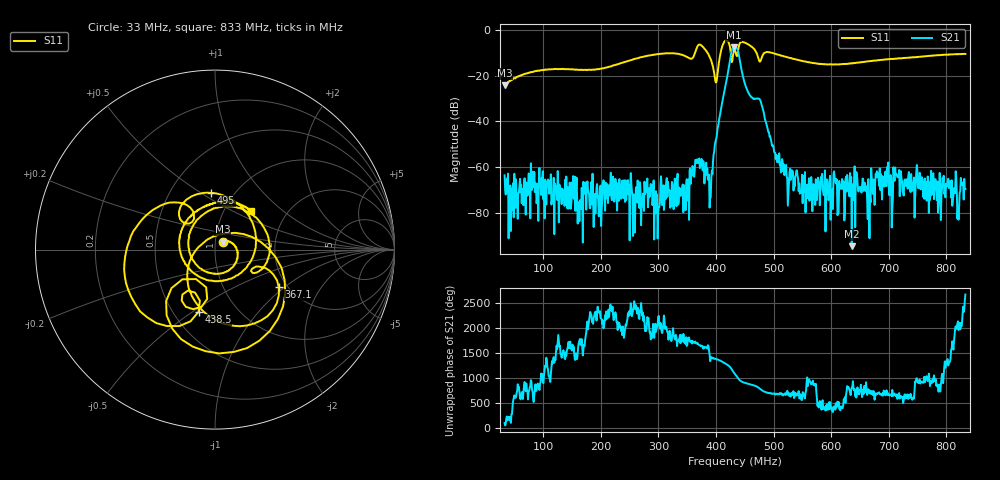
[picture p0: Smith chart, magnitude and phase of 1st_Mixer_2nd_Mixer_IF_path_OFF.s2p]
# HZ S RI R 50
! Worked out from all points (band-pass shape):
!   808 points, 33 MHz to 833 MHz, reference 50 ohm
!   highest |S21| = -7.75 dB at 430.5 MHz (marker M1); lowest = -94.3 dB at 635.7 MHz (marker M2)
!   |S21| within 3 dB of the highest: 426.1 MHz to 439.5 MHz (13.4 MHz wide, 3.1 % of centre)
!   lowest |S11| = -24.2 dB at 33 MHz (marker M3), VSWR 1.13, Z = 54.2 + j4.9 ohm
!   |S11| at or under -10 dB: start of sweep to 363.8 MHz; 385 MHz to 408.1 MHz (23.14 MHz wide, 5.84 % of centre); 494.9 MHz to end of sweep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
!   S12 and S22 are empty: the file has one direction only
!   S11 on the Smith chart (normalised r, x): 33 MHz: 1.08, +0.10; 367.1 MHz: 1.81, -0.91; 438.5 MHz: 0.66, -0.53; 495 MHz: 0.79, +0.55; 833 MHz: 1.33, +0.63
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3.3e7  0.042 0.045  -1.47e-05 0.000673  0 0  0 0
4.390459e7  0.0621 0.0468  -3.65e-06 4.12e-05  0 0  0 0
8.25663e7  0.1213 -0.000291  -0.000723 -0.000365  0 0  0 0
1.66829e8  -0.0425 -0.127  0.000325 -0.000154  0 0  0 0
2.996667e8  0.2439 0.1616  5.2e-05 9.5e-05  0 0  0 0
3.49233e8  0.2201 -0.1305  -0.000528 -0.000168  0 0  0 0
3.670769e8  0.355 -0.2084  -0.000681 -0.00133  0 0  0 0
3.898774e8  -0.1514 -0.1882  -6.94e-05 -0.000211  0 0  0 0
3.997906e8  -0.044 0.0552  0.00196 -0.00347  0 0  0 0
4.106952e8  0.3876 -0.1693  -0.0113 -0.0231  0 0  0 0
4.186258e8  0.0239 -0.5785  -0.082 -0.0122  0 0  0 0
4.305217e8  -0.0748 -0.3186  0.3479 0.2161  0 0  0 0
4.334957e8  -0.1855 -0.2846  0.3936 -0.0881  0 0  0 0
4.384523e8  -0.0916 -0.3464  -0.0152 -0.3332  0 0  0 0
4.523309e8  -0.5009 -0.0416  -0.0541 0.01  0 0  0 0
4.77114e8  -0.144 0.145  0.0175 0.0223  0 0  0 0
4.949579e8  -0.0211 0.3155  0.00345 -0.00248  0 0  0 0
5.22715e8  0.2154 0.1314  0.00061 -0.000145  0 0  0 0
5.663334e8  0.1239 -0.1432  -0.000385 6.09e-05  0 0  0 0
6.357262e8  -0.1693 -0.0687  3.25e-06 1.91e-05  0 0  0 0
7.001624e8  -0.1533 0.1662  0.000171 -0.000289  0 0  0 0
8.330001e8  0.2009 0.2151  -0.000287 0.000177  0 0  0 0
